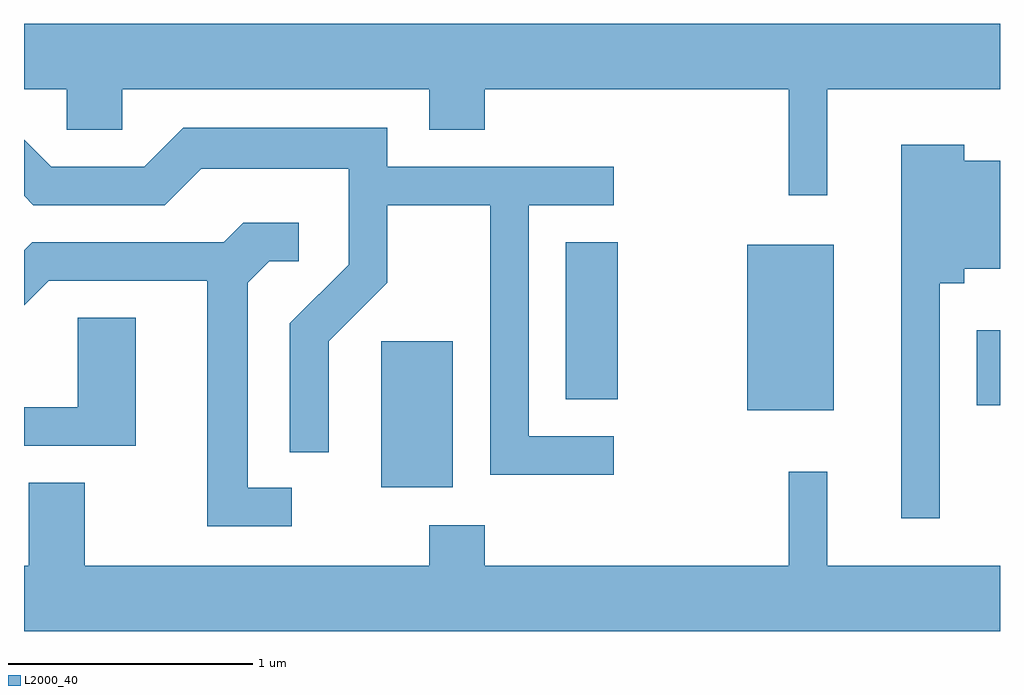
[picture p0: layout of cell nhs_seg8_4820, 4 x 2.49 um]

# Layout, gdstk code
import gdstk
lib = gdstk.Library(unit=1e-6, precision=1e-09)
def R(c, l, rs):  # rectangles x0, y0, x1, y1
    for r in rs: c.add(gdstk.rectangle(r[:2], r[2:], *l))
def P(c, l, *ps):  # polygons
    for p in ps: c.add(gdstk.Polygon(p, *l))
L2000_40 = (2000, 40)

nhs_seg8_4820 = lib.new_cell('nhs_seg8_4820')
R(nhs_seg8_4820, L2000_40, [(331.076,1863.646,331.369,1864.244), (332.576,1863.961,332.929,1864.639), (333.516,1863.981,333.611,1864.289), (331.831,1864.006,332.044,1864.649)])
P(nhs_seg8_4820, L2000_40, [(332.904,1865.276),(333.611,1865.276),(333.611,1865.544),(329.611,1865.544),(329.611,1865.276),(329.786,1865.276),(329.786,1865.111),(330.014,1865.111),(330.014,1865.276),(331.271,1865.276),(331.271,1865.111),(331.499,1865.111),(331.499,1865.276),(332.746,1865.276),(332.746,1864.843),(332.904,1864.843)],
  [(332.028,1863.854),(331.679,1863.854),(331.679,1864.801),(332.028,1864.801),(332.028,1864.959),(331.099,1864.959),(331.099,1865.119),(330.264,1865.119),(330.104,1864.959),(329.722,1864.959),(329.611,1865.07),(329.611,1864.839),(329.649,1864.801),(330.187,1864.801),(330.337,1864.951),(330.941,1864.951),(330.941,1864.557),(330.701,1864.317),(330.701,1863.788),(330.859,1863.788),(330.859,1864.244),(331.099,1864.484),(331.099,1864.801),(331.521,1864.801),(331.521,1863.696),(332.028,1863.696)],
  [(333.364,1864.481),(333.464,1864.481),(333.464,1864.541),(333.611,1864.541),(333.611,1864.984),(333.464,1864.984),(333.464,1865.049),(333.206,1865.049),(333.206,1863.518),(333.364,1863.518)],
  [(330.708,1863.644),(330.529,1863.644),(330.529,1864.484),(330.617,1864.571),(330.738,1864.571),(330.738,1864.729),(330.509,1864.729),(330.429,1864.649),(329.644,1864.649),(329.611,1864.616),(329.611,1864.391),(329.712,1864.491),(330.361,1864.491),(330.361,1863.486),(330.708,1863.486)],
  [(330.069,1864.339),(329.831,1864.339),(329.831,1863.974),(329.611,1863.974),(329.611,1863.816),(330.069,1863.816)],
  [(333.611,1863.324),(332.904,1863.324),(332.904,1863.708),(332.746,1863.708),(332.746,1863.324),(331.499,1863.324),(331.499,1863.489),(331.271,1863.489),(331.271,1863.324),(329.859,1863.324),(329.859,1863.664),(329.631,1863.664),(329.631,1863.324),(329.611,1863.324),(329.611,1863.056),(333.611,1863.056)])

lib.write_gds('nhs_seg8_4820.gds')
